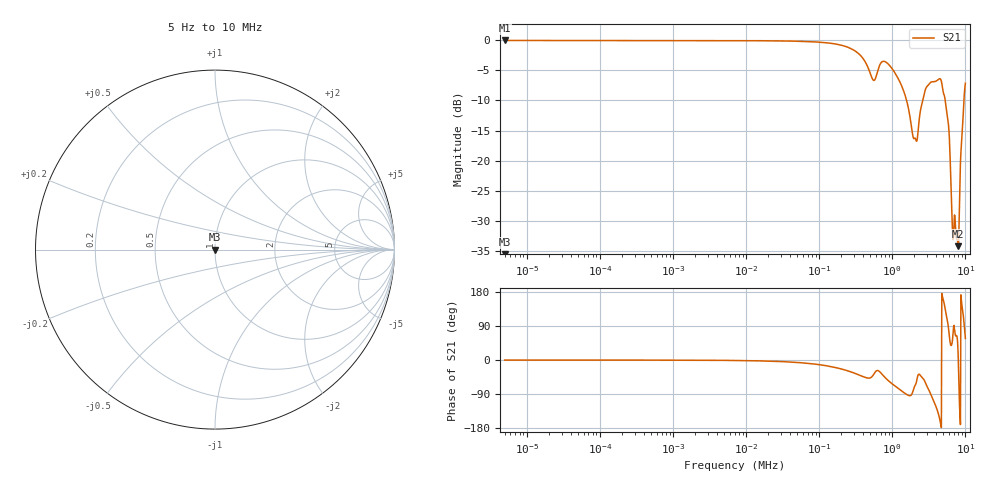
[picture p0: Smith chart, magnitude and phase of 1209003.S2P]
!Agilent Technologies,E5061B,MY49204007,A.02.12
!Date: Fri Sep 12 10:26:08 2025
!Data & Calibration Information:
!Freq	S11:SOLT2(OFF)	S21:SOLT2(OFF)	S12:SOLT2(OFF)	S22:SOLT2(OFF)
# Hz S dB R 50
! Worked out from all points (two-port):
!   1041 points, 5 Hz to 10 MHz, reference 50 ohm
!   highest |S21| = -0.04 dB at 5 Hz (marker M1); lowest = -34.2 dB at 7.958 MHz (marker M2)
!   |S21| within 3 dB of the highest: start of sweep to 398.8 kHz
!   lowest |S11| = - dB at 5 Hz (marker M3), VSWR 1.00, Z = 50 + j0 ohm
!   |S11| at or under -10 dB: start of sweep to end of sweep
!   S12 and S22 are empty: the file has one direction only
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5  -200.00 0.0  -0.04 -0.2  -200.00 0.0  -200.00 0.0
56.522  -200.00 0.0  -0.04 -0.2  -200.00 0.0  -200.00 0.0
632.897  -200.00 0.0  -0.04 -0.3  -200.00 0.0  -200.00 0.0
7154.49  -200.00 0.0  -0.06 -1.2  -200.00 0.0  -200.00 0.0
80111.67  -200.00 0.0  -0.26 -10.0  -200.00 0.0  -200.00 0.0
194439.3  -200.00 0.0  -0.79 -22.9  -200.00 0.0  -200.00 0.0
360215.8  -200.00 0.0  -2.42 -40.4  -200.00 0.0  -200.00 0.0
509689.2  -200.00 0.0  -5.78 -46.3  -200.00 0.0  -200.00 0.0
611565.8  -200.00 0.0  -5.73 -28.2  -200.00 0.0  -200.00 0.0
711609.1  -200.00 0.0  -3.66 -35.7  -200.00 0.0  -200.00 0.0
893075.1  -200.00 0.0  -4.03 -55.3  -200.00 0.0  -200.00 0.0
1458484  -200.00 0.0  -8.71 -86.7  -200.00 0.0  -200.00 0.0
2043081  -200.00 0.0  -16.25 -67.9  -200.00 0.0  -200.00 0.0
2666740  -200.00 0.0  -9.54 -49.9  -200.00 0.0  -200.00 0.0
3454407  -200.00 0.0  -6.92 -95.8  -200.00 0.0  -200.00 0.0
4568238  -200.00 0.0  -6.46 -166.1  -200.00 0.0  -200.00 0.0
5137346  -200.00 0.0  -9.14 148.4  -200.00 0.0  -200.00 0.0
5686391  -200.00 0.0  -12.87 103.2  -200.00 0.0  -200.00 0.0
6906588  -200.00 0.0  -32.35 87.8  -200.00 0.0  -200.00 0.0
7957789  -200.00 0.0  -34.21 14.8  -200.00 0.0  -200.00 0.0
9038960  -200.00 0.0  -15.53 139.2  -200.00 0.0  -200.00 0.0
1e7  -200.00 0.0  -7.14 56.8  -200.00 0.0  -200.00 0.0
